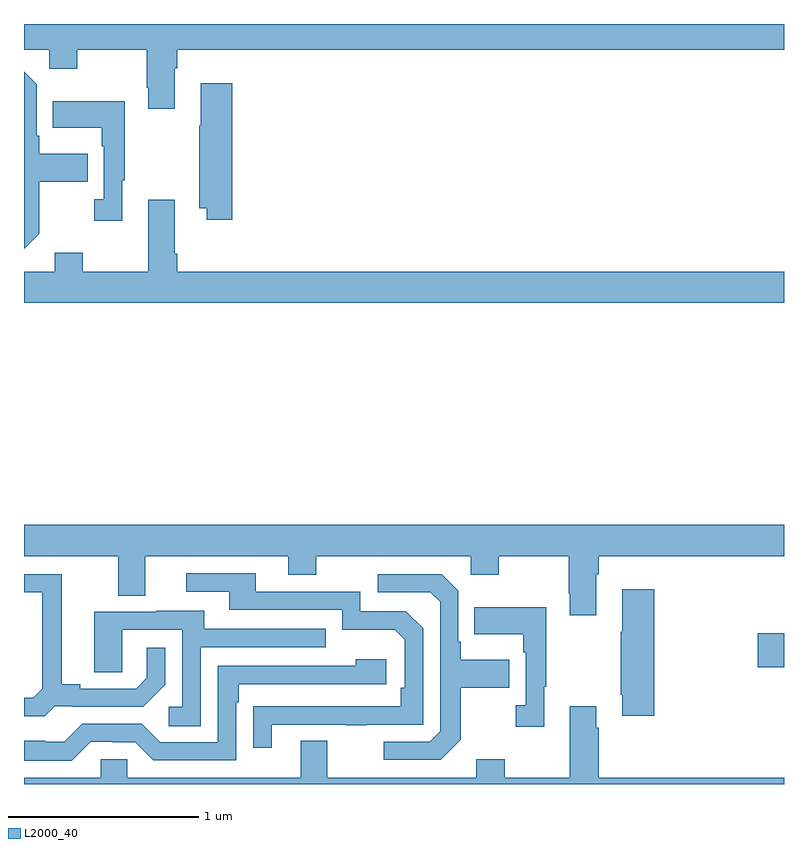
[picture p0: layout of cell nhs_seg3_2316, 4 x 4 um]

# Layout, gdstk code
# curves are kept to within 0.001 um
import gdstk
lib = gdstk.Library(unit=1e-6, precision=1e-09)
def R(c, l, rs):  # rectangles x0, y0, x1, y1
    for r in rs: c.add(gdstk.rectangle(r[:2], r[2:], *l))
def P(c, l, *ps):  # polygons
    for p in ps: c.add(gdstk.Polygon(p, *l))
L2000_40 = (2000, 40)

nhs_seg3_2316 = lib.new_cell('nhs_seg3_2316')
R(nhs_seg3_2316, L2000_40, [(234.861,683.015,235,683.193)])
P(nhs_seg3_2316, L2000_40, [(231.793,686.168),(231.806,686.168),(231.806,686.264),(235,686.264),(235,686.4),(231,686.4),(231,686.264),(231.132,686.264),(231.132,686.165),(231.279,686.165),(231.279,686.264),(231.646,686.264),(231.646,686.065),(231.653,686.065),(231.653,685.953),(231.793,685.953)],
  [(231.079,685.297),(231.079,685.57),(231.335,685.57),(231.335,685.717),(231.079,685.717),(231.079,685.813),(231.066,685.813),(231.066,686.082),(231,686.148),(231,685.218)],
  [(232.097,686.089),(231.929,686.089),(231.929,685.865),(231.922,685.865),(231.922,685.43),(231.962,685.43),(231.962,685.371),(232.097,685.371)],
  [(231.517,685.577),(231.529,685.577),(231.529,685.993),(231.151,685.993),(231.151,685.853),(231.408,685.853),(231.408,685.757),(231.42,685.757),(231.42,685.478),(231.369,685.478),(231.369,685.365),(231.517,685.365)],
  [(235,685.096),(231.806,685.096),(231.806,685.192),(231.793,685.192),(231.793,685.474),(231.653,685.474),(231.653,685.096),(231.309,685.096),(231.309,685.195),(231.161,685.195),(231.161,685.096),(231,685.096),(231,684.932),(235,684.932)],
  [(234.013,683.504),(234.026,683.504),(234.026,683.6),(235,683.6),(235,683.764),(231,683.764),(231,683.6),(231.497,683.6),(231.497,683.392),(231.637,683.392),(231.637,683.6),(232.391,683.6),(232.391,683.501),(232.539,683.501),(232.539,683.6),(233.352,683.6),(233.352,683.501),(233.499,683.501),(233.499,683.6),(233.866,683.6),(233.866,683.401),(233.873,683.401),(233.873,683.289),(234.013,683.289)],
  [(232.303,682.713),(232.693,682.713),(232.693,682.708),(232.805,682.708),(232.805,682.713),(233.1,682.713),(233.1,683.22),(233.01,683.31),(232.77,683.31),(232.77,683.412),(232.219,683.412),(232.219,683.508),(231.855,683.508),(231.855,683.412),(232.079,683.412),(232.079,683.316),(232.674,683.316),(232.674,683.213),(232.951,683.213),(233.004,683.16),(233.004,682.906),(232.984,682.906),(232.984,682.809),(232.207,682.808),(232.207,682.59),(232.303,682.59)],
  [(233.299,682.633),(233.299,682.906),(233.555,682.906),(233.555,683.053),(233.299,683.053),(233.299,683.149),(233.286,683.149),(233.286,683.418),(233.199,683.505),(232.863,683.505),(232.863,683.409),(233.139,683.409),(233.19,683.358),(233.19,682.677),(233.136,682.623),(232.893,682.623),(232.893,682.527),(233.193,682.527)],
  [(231.162,682.809),(231.256,682.809),(231.256,682.806),(231.628,682.806),(231.744,682.922),(231.744,683.116),(231.647,683.116),(231.647,682.959),(231.59,682.902),(231.295,682.902),(231.295,682.925),(231.199,682.925),(231.199,683.505),(231,683.505),(231,683.409),(231.095,683.409),(231.095,682.901),(231.048,682.854),(231,682.854),(231,682.757),(231.11,682.757)],
  [(234.317,683.425),(234.149,683.425),(234.149,683.201),(234.142,683.201),(234.142,682.87),(234.149,682.87),(234.149,682.758),(234.317,682.758)],
  [(233.737,682.913),(233.749,682.913),(233.749,683.329),(233.371,683.329),(233.371,683.189),(233.628,683.189),(233.628,683.093),(233.64,683.093),(233.64,682.814),(233.589,682.814),(233.589,682.701),(233.737,682.701)],
  [(231.93,683.121),(232.589,683.121),(232.589,683.217),(231.949,683.217),(231.949,683.311),(231.695,683.311),(231.695,683.307),(231.371,683.307),(231.371,682.987),(231.516,682.987),(231.516,683.211),(231.834,683.211),(231.834,682.806),(231.762,682.806),(231.762,682.705),(231.93,682.705)],
  [(231.351,682.623),(231.467,682.623),(231.467,682.62),(231.585,682.62),(231.681,682.524),(232.116,682.524),(232.116,682.829),(232.129,682.829),(232.129,682.926),(232.906,682.926),(232.906,683.056),(232.745,683.056),(232.745,683.022),(232.02,683.022),(232.02,682.62),(231.717,682.62),(231.621,682.716),(231.306,682.716),(231.213,682.623),(231.113,682.623),(231.113,682.627),(231,682.627),(231,682.523),(231.251,682.523)],
  [(235,682.432),(234.026,682.432),(234.026,682.697),(234.013,682.697),(234.013,682.81),(233.873,682.81),(233.873,682.432),(233.529,682.432),(233.529,682.531),(233.381,682.531),(233.381,682.432),(232.597,682.432),(232.597,682.627),(232.457,682.627),(232.457,682.432),(231.543,682.432),(231.543,682.53),(231.405,682.53),(231.405,682.432),(231,682.432),(231,682.4),(235,682.4)])

lib.write_gds('nhs_seg3_2316.gds')
